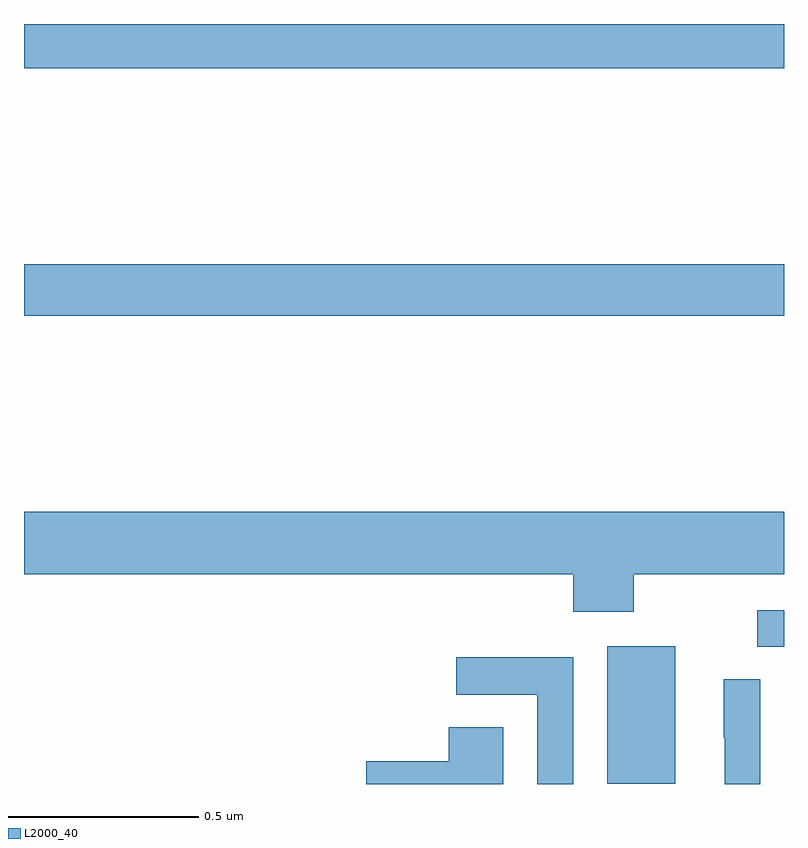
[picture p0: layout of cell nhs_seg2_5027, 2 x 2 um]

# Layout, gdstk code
import gdstk
lib = gdstk.Library(unit=1e-6, precision=1e-09)
def R(c, l, rs):  # rectangles x0, y0, x1, y1
    for r in rs: c.add(gdstk.rectangle(r[:2], r[2:], *l))
def P(c, l, *ps):  # polygons
    for p in ps: c.add(gdstk.Polygon(p, *l))
L2000_40 = (2000, 40)

nhs_seg2_5027 = lib.new_cell('nhs_seg2_5027')
R(nhs_seg2_5027, L2000_40, [(175.535,597.801,175.714,598.162), (175.929,598.161,176,598.257), (174,599.032,176,599.168), (174,599.684,176,599.8)])
P(nhs_seg2_5027, L2000_40, [(175.605,598.352),(176,598.352),(176,598.516),(174,598.516),(174,598.352),(175.445,598.352),(175.445,598.253),(175.605,598.253)],
  [(175.446,598.134),(175.137,598.134),(175.137,598.035),(175.35,598.035),(175.35,597.8),(175.446,597.8)],
  [(175.938,598.076),(175.842,598.076),(175.842,597.922),(175.844,597.922),(175.844,597.8),(175.938,597.8)],
  [(175.261,597.95),(175.118,597.95),(175.118,597.86),(174.9,597.86),(174.9,597.8),(175.261,597.8)])

lib.write_gds('nhs_seg2_5027.gds')
